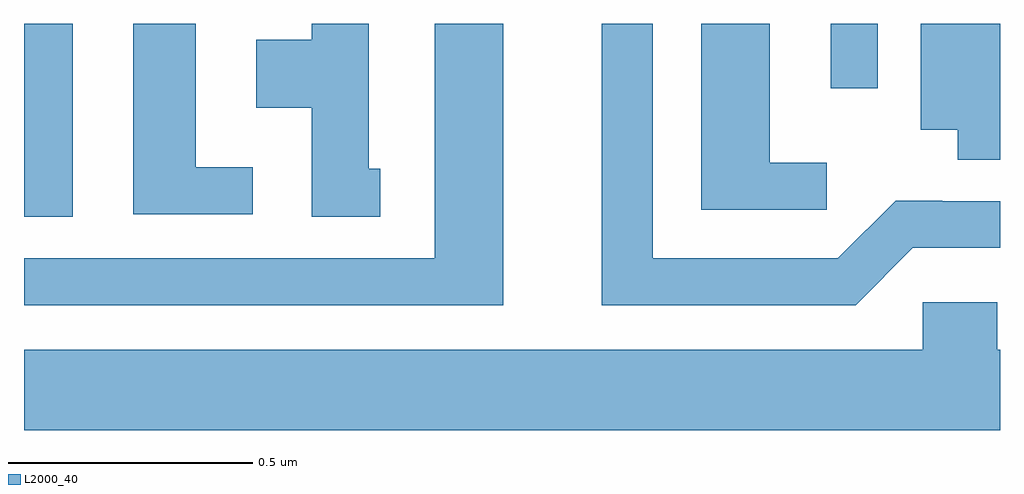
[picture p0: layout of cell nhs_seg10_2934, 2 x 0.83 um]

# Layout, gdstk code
import gdstk
lib = gdstk.Library(unit=1e-6, precision=1e-09)
def R(c, l, rs):  # rectangles x0, y0, x1, y1
    for r in rs: c.add(gdstk.rectangle(r[:2], r[2:], *l))
def P(c, l, *ps):  # polygons
    for p in ps: c.add(gdstk.Polygon(p, *l))
L2000_40 = (2000, 40)

nhs_seg10_2934 = lib.new_cell('nhs_seg10_2934')
R(nhs_seg10_2934, L2000_40, [(147,1282.105,147.1,1282.5), (148.653,1282.368,148.749,1282.5)])
P(nhs_seg10_2934, L2000_40, [(148.645,1282.216),(148.528,1282.216),(148.528,1282.5),(148.388,1282.5),(148.388,1282.119),(148.645,1282.119)],
  [(147.982,1282.5),(147.842,1282.5),(147.842,1282.02),(147,1282.02),(147,1281.924),(147.982,1281.924)],
  [(147.73,1282.203),(147.706,1282.203),(147.706,1282.5),(147.59,1282.5),(147.59,1282.468),(147.476,1282.468),(147.476,1282.328),(147.59,1282.328),(147.59,1282.105),(147.73,1282.105)],
  [(149,1282.5),(148.838,1282.5),(148.838,1282.283),(148.913,1282.283),(148.913,1282.222),(149,1282.222)],
  [(148.821,1282.041),(149,1282.041),(149,1282.137),(148.882,1282.137),(148.882,1282.138),(148.786,1282.138),(148.668,1282.02),(148.288,1282.02),(148.288,1282.5),(148.184,1282.5),(148.184,1281.924),(148.704,1281.924)],
  [(147.469,1282.206),(147.352,1282.206),(147.352,1282.5),(147.224,1282.5),(147.224,1282.11),(147.469,1282.11)],
  [(149,1281.832),(148.994,1281.832),(148.994,1281.93),(148.842,1281.93),(148.842,1281.832),(147,1281.832),(147,1281.668),(149,1281.668)])

lib.write_gds('nhs_seg10_2934.gds')
